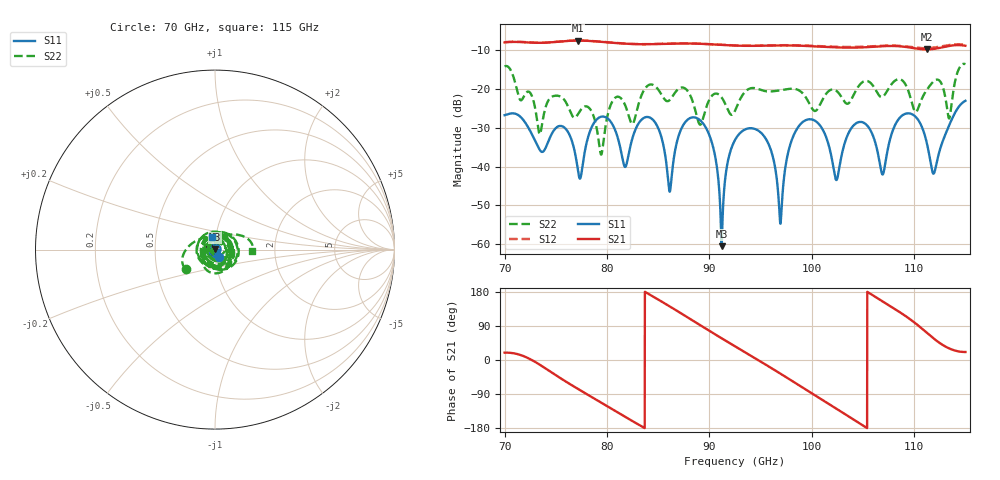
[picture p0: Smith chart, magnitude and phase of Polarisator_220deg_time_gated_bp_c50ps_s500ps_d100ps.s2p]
# Hz S RI R 1.000000
! Metas.Vna.Tools, 2.4.7898.19887
! Metas.Vna.Data, 2.4.7898.19873
! Created: UTC 2021.09.30 14:31:00
! FREQ  re:S1,1  im:S1,1  re:S2,1  im:S2,1  re:S1,2  im:S1,2  re:S2,2  im:S2,2
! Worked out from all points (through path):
!   2251 points, 70 GHz to 115 GHz, reference 1 ohm
!   highest |S21| = -7.52 dB at 77.18 GHz (marker M1); lowest = -9.8 dB at 111.2 GHz (marker M2)
!   lowest |S11| = -60.5 dB at 91.2 GHz (marker M3), VSWR 1.00, Z = 1 + j0.00185 ohm
!   |S11| at or under -10 dB: start of sweep to end of sweep
!   |S22| runs from -36.9 to -13.5 dB; largest |S21 - S12| = 0.068
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7e10  0.0241 -0.0393  0.3769 0.1323  0.3771 0.1396  -0.1624 -0.1079
7.342e10  -0.0134 -0.00971  0.3849 -0.0832  0.3866 -0.0815  -0.0194 -0.0176
7.57e10  -0.0316 -0.00893  0.2528 -0.326  0.2508 -0.3292  0.0536 -0.0538
7.718e10  0.00126 0.00861  0.0978 -0.4094  0.0931 -0.4123  -0.0222 0.0424
7.75e10  0.00814 -0.000137  0.0607 -0.4161  0.0556 -0.4187  0.0106 0.0543
7.944e10  -0.0352 -0.0264  -0.1576 -0.374  -0.1627 -0.3738  -0.0142 -0.002
8.176e10  -0.00988 -0.000798  -0.3323 -0.1929  -0.3348 -0.1906  0.0114 -0.0615
8.5e10  -0.0124 0.0288  -0.3561 0.1329  -0.3568 0.1364  -0.0374 -0.0913
8.612e10  0.0045 -0.00151  -0.3002 0.2389  -0.3003 0.2425  -0.0124 0.0711
8.942e10  -0.004 0.0353  0.0229 0.3807  0.0265 0.3818  0.0291 0.0328
9.12e10  -0.000193 0.000926  0.2006 0.311  0.205 0.3101  -0.0562 -0.0538
9.25e10  -0.00617 0.0212  0.2931 0.2142  0.2969 0.2126  0.0425 0.0307
9.542e10  0.0103 -0.0215  0.3554 -0.0686  0.3574 -0.0715  0.0322 0.0885
9.694e10  -0.00103 0.00152  0.2948 -0.2148  0.2948 -0.2195  -0.0316 -0.0909
9.804e10  0.0214 -0.00499  0.211 -0.2968  0.2087 -0.3026  -0.061 0.0806
1e11  -0.011 -0.0391  0.0129 -0.356  0.00634 -0.3613  -0.00611 -0.0565
1.0238e11  -0.00435 -0.00514  -0.2131 -0.2704  -0.2201 -0.2729  0.0831 -0.0469
1.0436e11  -0.0216 -0.0293  -0.3251 -0.1064  -0.3315 -0.1099  0.0297 0.0939
1.075e11  -0.00641 -0.0177  -0.293 0.207  -0.3026 0.2019  0.024 0.0988
1.1124e11  -0.0126 0.0155  0.1014 0.3076  0.0792 0.3272  0.0978 0.00366
1.1342e11  -0.0325 0.0107  0.3099 0.1825  0.2845 0.2368  -0.0282 0.031
1.15e11  -0.0159 0.0688  0.3369 0.1302  0.318 0.1952  0.2089 -0.00946
